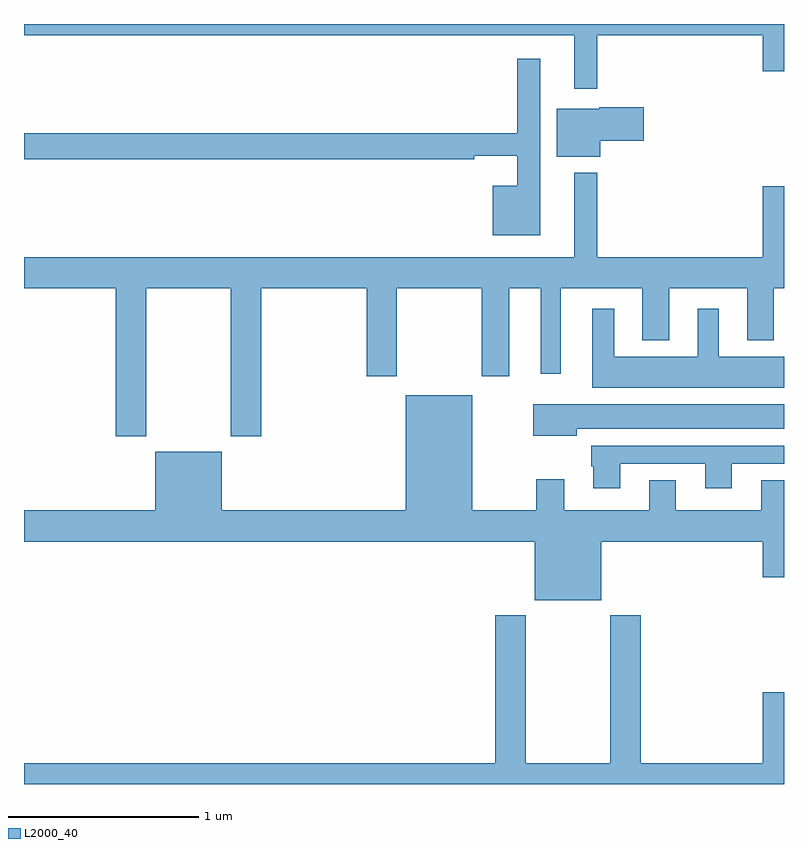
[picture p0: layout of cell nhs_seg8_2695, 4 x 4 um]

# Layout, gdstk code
import gdstk
lib = gdstk.Library(unit=1e-6, precision=1e-09)
def P(c, l, *ps):  # polygons
    for p in ps: c.add(gdstk.Polygon(p, *l))
L2000_40 = (2000, 40)

nhs_seg8_2695 = lib.new_cell('nhs_seg8_2695')
P(nhs_seg8_2695, L2000_40, [(284.017,1109.84),(284.888,1109.84),(284.888,1109.652),(285,1109.652),(285,1109.9),(281,1109.9),(281,1109.84),(283.895,1109.84),(283.895,1109.559),(284.017,1109.559)],
  [(283.717,1109.716),(283.596,1109.716),(283.596,1109.324),(281,1109.324),(281,1109.188),(283.37,1109.188),(283.37,1109.207),(283.596,1109.207),(283.596,1109.05),(283.466,1109.05),(283.466,1108.787),(283.717,1108.787)],
  [(284.032,1109.285),(284.263,1109.285),(284.263,1109.463),(284.028,1109.463),(284.028,1109.455),(283.805,1109.455),(283.805,1109.201),(284.032,1109.201)],
  [(281.643,1108.508),(282.088,1108.508),(282.088,1107.729),(282.248,1107.729),(282.248,1108.508),(282.803,1108.508),(282.803,1108.047),(282.963,1108.047),(282.963,1108.508),(283.408,1108.508),(283.408,1108.047),(283.555,1108.047),(283.555,1108.508),(283.721,1108.508),(283.721,1108.059),(283.825,1108.059),(283.825,1108.508),(284.255,1108.508),(284.255,1108.235),(284.395,1108.235),(284.395,1108.508),(284.807,1108.508),(284.807,1108.235),(284.947,1108.235),(284.947,1108.508),(285,1108.508),(285,1109.047),(284.888,1109.047),(284.888,1108.672),(284.017,1108.672),(284.017,1109.116),(283.895,1109.116),(283.895,1108.672),(281,1108.672),(281,1108.508),(281.483,1108.508),(281.483,1107.729),(281.643,1107.729)],
  [(285,1108.15),(284.656,1108.15),(284.656,1108.402),(284.546,1108.402),(284.546,1108.15),(284.107,1108.15),(284.107,1108.402),(283.991,1108.402),(283.991,1107.986),(285,1107.986)],
  [(284.038,1107.176),(284.888,1107.176),(284.888,1106.988),(285,1106.988),(285,1107.5),(284.879,1107.5),(284.879,1107.34),(284.431,1107.34),(284.431,1107.5),(284.291,1107.5),(284.291,1107.34),(283.843,1107.34),(283.843,1107.505),(283.696,1107.505),(283.696,1107.34),(283.36,1107.34),(283.36,1107.946),(283.01,1107.946),(283.01,1107.34),(282.04,1107.34),(282.04,1107.649),(281.69,1107.649),(281.69,1107.34),(281,1107.34),(281,1107.176),(283.688,1107.176),(283.688,1106.867),(284.038,1106.867)],
  [(283.909,1107.77),(285,1107.77),(285,1107.898),(283.68,1107.898),(283.68,1107.734),(283.909,1107.734)],
  [(284.137,1107.585),(284.585,1107.585),(284.585,1107.456),(284.725,1107.456),(284.725,1107.585),(285,1107.585),(285,1107.681),(283.985,1107.681),(283.985,1107.573),(283.997,1107.573),(283.997,1107.456),(284.137,1107.456)],
  [(285,1106.383),(284.888,1106.383),(284.888,1106.008),(284.246,1106.008),(284.246,1106.788),(284.086,1106.788),(284.086,1106.008),(283.641,1106.008),(283.641,1106.788),(283.481,1106.788),(283.481,1106.008),(281,1106.008),(281,1105.9),(285,1105.9)])

lib.write_gds('nhs_seg8_2695.gds')
